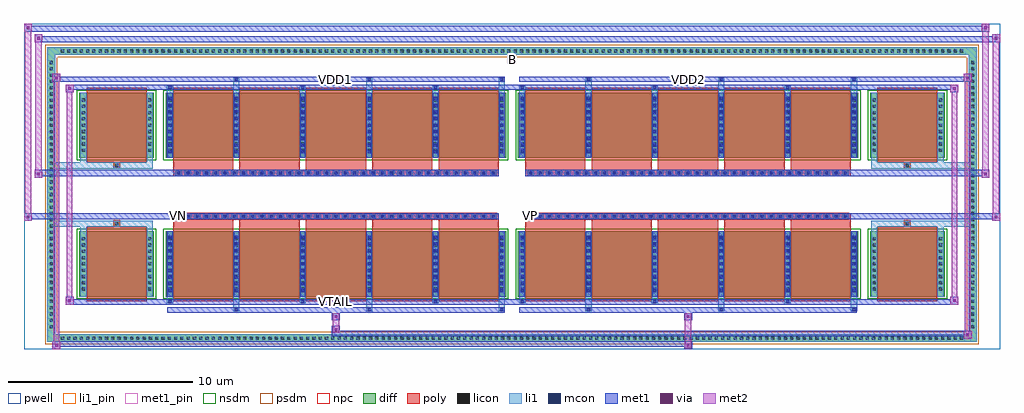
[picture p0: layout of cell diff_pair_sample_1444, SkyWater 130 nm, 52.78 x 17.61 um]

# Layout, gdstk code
import gdstk
lib = gdstk.Library(unit=1e-6, precision=5e-09)
def R(c, l, rs):  # rectangles x0, y0, x1, y1
    for r in rs: c.add(gdstk.rectangle(r[:2], r[2:], *l))
def A(c, l, x, y, w, h, nx, ny, dx, dy):  # array of equal rectangles
    R(c, l, [(x+i*dx, y+j*dy, x+i*dx+w, y+j*dy+h) for i in range(nx) for j in range(ny)])
def P(c, l, *ps):  # polygons
    for p in ps: c.add(gdstk.Polygon(p, *l))
pwell = (64, 44)
diff = (65, 20)
poly = (66, 20)
licon = (66, 44)
li1_pin = (67, 16)
li1 = (67, 20)
mcon = (67, 44)
met1_pin = (68, 16)
met1 = (68, 20)
via = (68, 44)
met2 = (69, 20)
nsdm = (93, 44)
psdm = (94, 20)
npc = (95, 20)

diff_pair_sample_1444 = lib.new_cell('diff_pair_sample_1444')
R(diff_pair_sample_1444, pwell, [(-26.39,-8.37,26.39,9.24), (-23.71,-6.56,-0.01,-0.8), (0.01,-6.56,23.71,-0.8), (-23.71,0.8,-0.01,6.56), (0.01,0.8,23.71,6.56)])
A(diff_pair_sample_1444, diff, -24.515, -7.97, 0.41, 0.41, 144, 2, 0.34, 15.53)
A(diff_pair_sample_1444, diff, -25.12, -7.345, 0.41, 0.41, 1, 43, 0, 0.34)
A(diff_pair_sample_1444, diff, 24.71, -7.345, 0.41, 0.41, 1, 43, 0, 0.34)
R(diff_pair_sample_1444, diff, [(-24.515,-7.97,24.515,-7.56), (-25.12,-7.345,-24.71,7.345), (24.71,-7.345,25.12,7.345), (-23.4,-5.515,-19.36,-1.985), (-18.72,-5.515,-0.32,-1.985), (0.32,-5.515,18.72,-1.985), (19.36,-5.515,23.4,-1.985), (-23.4,1.985,-19.36,5.515), (-18.72,1.985,-0.32,5.515), (0.32,1.985,18.72,5.515), (19.36,1.985,23.4,5.515), (-24.515,7.56,24.515,7.97)])
P(diff_pair_sample_1444, diff, [(25.12,7.97),(-25.12,7.97),(-25.12,-7.56),(-24.71,-7.56),(-24.71,7.56),(24.71,7.56),(24.71,-7.56),(-24.71,-7.56),(-25.12,-7.56),(-25.12,-7.97),(25.12,-7.97)])
A(diff_pair_sample_1444, poly, -18.33, -5.765, 3.26, 4.03, 5, 2, 3.59, 7.5)
A(diff_pair_sample_1444, poly, 0.71, -5.765, 3.26, 4.03, 5, 2, 3.59, 7.5)
A(diff_pair_sample_1444, poly, -18.33, -1.735, 3.26, 0.405, 5, 2, 3.59, 3.065)
A(diff_pair_sample_1444, poly, 0.71, -1.735, 3.26, 0.405, 5, 2, 3.59, 3.065)
A(diff_pair_sample_1444, poly, -18.185, -1.33, 0.33, 0.33, 35, 2, 0.5, 2.33)
A(diff_pair_sample_1444, poly, 0.855, -1.33, 0.33, 0.33, 35, 2, 0.5, 2.33)
R(diff_pair_sample_1444, poly, [(-23.01,-5.765,-19.75,-1.735), (19.75,-5.765,23.01,-1.735), (-21.545,-1.735,-21.215,-1.405), (-21.545,-1.735,-21.215,-1.405), (21.215,-1.735,21.545,-1.405), (21.215,-1.735,21.545,-1.405), (-18.33,-1.33,-0.71,-1), (0.71,-1.33,18.33,-1), (-18.33,1,-0.71,1.33), (0.71,1,18.33,1.33), (-21.545,1.405,-21.215,1.735), (-21.545,1.405,-21.215,1.735), (21.215,1.405,21.545,1.735), (21.215,1.405,21.545,1.735), (-23.01,1.735,-19.75,5.765), (19.75,1.735,23.01,5.765)])
A(diff_pair_sample_1444, licon, -24.395, -7.85, 0.17, 0.17, 144, 2, 0.34, 15.53)
A(diff_pair_sample_1444, licon, -25, -7.225, 0.17, 0.17, 1, 43, 0, 0.34)
A(diff_pair_sample_1444, licon, 24.83, -7.225, 0.17, 0.17, 1, 43, 0, 0.34)
A(diff_pair_sample_1444, licon, -23.26, -5.195, 0.17, 0.17, 1, 9, 0, 0.34)
A(diff_pair_sample_1444, licon, -19.67, -5.195, 0.17, 0.17, 1, 9, 0, 0.34)
A(diff_pair_sample_1444, licon, -18.58, -5.195, 0.17, 0.17, 6, 9, 3.59, 0.34)
A(diff_pair_sample_1444, licon, 0.46, -5.195, 0.17, 0.17, 6, 9, 3.59, 0.34)
A(diff_pair_sample_1444, licon, 19.5, -5.195, 0.17, 0.17, 1, 9, 0, 0.34)
A(diff_pair_sample_1444, licon, 23.09, -5.195, 0.17, 0.17, 1, 9, 0, 0.34)
A(diff_pair_sample_1444, licon, -18.105, -1.25, 0.17, 0.17, 35, 2, 0.5, 2.33)
A(diff_pair_sample_1444, licon, 0.935, -1.25, 0.17, 0.17, 35, 2, 0.5, 2.33)
A(diff_pair_sample_1444, licon, -23.26, 2.305, 0.17, 0.17, 1, 9, 0, 0.34)
A(diff_pair_sample_1444, licon, -19.67, 2.305, 0.17, 0.17, 1, 9, 0, 0.34)
A(diff_pair_sample_1444, licon, -18.58, 2.305, 0.17, 0.17, 6, 9, 3.59, 0.34)
A(diff_pair_sample_1444, licon, 0.46, 2.305, 0.17, 0.17, 6, 9, 3.59, 0.34)
A(diff_pair_sample_1444, licon, 19.5, 2.305, 0.17, 0.17, 1, 9, 0, 0.34)
A(diff_pair_sample_1444, licon, 23.09, 2.305, 0.17, 0.17, 1, 9, 0, 0.34)
R(diff_pair_sample_1444, licon, [(-21.465,-1.655,-21.295,-1.485), (21.295,-1.655,21.465,-1.485), (-21.465,1.485,-21.295,1.655), (21.295,1.485,21.465,1.655)])
R(diff_pair_sample_1444, li1_pin, [(-0.25,7.06,0.25,7.56)])
A(diff_pair_sample_1444, li1, -24.475, -7.93, 0.33, 0.33, 144, 2, 0.34, 15.53)
A(diff_pair_sample_1444, li1, -25.08, -7.305, 0.33, 0.33, 1, 43, 0, 0.34)
A(diff_pair_sample_1444, li1, 24.75, -7.305, 0.33, 0.33, 1, 43, 0, 0.34)
A(diff_pair_sample_1444, li1, -15.07, -6.32, 0.33, 0.805, 3, 2, 7.18, 11.835)
A(diff_pair_sample_1444, li1, -14.99, -6.32, 0.17, 0.17, 3, 2, 7.18, 12.47)
A(diff_pair_sample_1444, li1, 3.97, -6.32, 0.33, 0.805, 3, 2, 7.18, 11.835)
A(diff_pair_sample_1444, li1, 4.05, -6.32, 0.17, 0.17, 3, 2, 7.18, 12.47)
A(diff_pair_sample_1444, li1, -18.66, -5.89, 0.33, 0.375, 3, 2, 7.18, 11.405)
A(diff_pair_sample_1444, li1, -18.58, -5.89, 0.17, 0.17, 3, 2, 7.18, 11.61)
A(diff_pair_sample_1444, li1, 0.38, -5.89, 0.33, 0.375, 3, 2, 7.18, 11.405)
A(diff_pair_sample_1444, li1, 0.46, -5.89, 0.17, 0.17, 3, 2, 7.18, 11.61)
A(diff_pair_sample_1444, li1, -18.66, -5.515, 0.33, 3.53, 6, 2, 3.59, 7.5)
A(diff_pair_sample_1444, li1, 0.38, -5.515, 0.33, 3.53, 6, 2, 3.59, 7.5)
A(diff_pair_sample_1444, li1, -23.34, -5.275, 0.33, 0.33, 1, 9, 0, 0.34)
A(diff_pair_sample_1444, li1, -19.75, -5.275, 0.33, 0.33, 1, 9, 0, 0.34)
A(diff_pair_sample_1444, li1, -18.66, -5.275, 0.33, 0.33, 6, 9, 3.59, 0.34)
A(diff_pair_sample_1444, li1, -18.58, -5.275, 0.17, 0.17, 6, 9, 3.59, 0.36)
A(diff_pair_sample_1444, li1, -18.58, -5.275, 0.17, 3.05, 6, 2, 3.59, 7.5)
A(diff_pair_sample_1444, li1, 0.38, -5.275, 0.33, 0.33, 6, 9, 3.59, 0.34)
A(diff_pair_sample_1444, li1, 0.46, -5.275, 0.17, 0.17, 6, 9, 3.59, 0.36)
A(diff_pair_sample_1444, li1, 0.46, -5.275, 0.17, 3.05, 6, 2, 3.59, 7.5)
A(diff_pair_sample_1444, li1, 19.42, -5.275, 0.33, 0.33, 1, 9, 0, 0.34)
A(diff_pair_sample_1444, li1, 23.01, -5.275, 0.33, 0.33, 1, 9, 0, 0.34)
A(diff_pair_sample_1444, li1, -18.185, -1.33, 0.33, 0.33, 35, 2, 0.5, 2.33)
A(diff_pair_sample_1444, li1, 0.855, -1.33, 0.33, 0.33, 35, 2, 0.5, 2.33)
A(diff_pair_sample_1444, li1, -23.34, 2.225, 0.33, 0.33, 1, 9, 0, 0.34)
A(diff_pair_sample_1444, li1, -19.75, 2.225, 0.33, 0.33, 1, 9, 0, 0.34)
A(diff_pair_sample_1444, li1, -18.66, 2.225, 0.33, 0.33, 6, 9, 3.59, 0.34)
A(diff_pair_sample_1444, li1, -18.58, 2.225, 0.17, 0.17, 6, 9, 3.59, 0.36)
A(diff_pair_sample_1444, li1, 0.38, 2.225, 0.33, 0.33, 6, 9, 3.59, 0.34)
A(diff_pair_sample_1444, li1, 0.46, 2.225, 0.17, 0.17, 6, 9, 3.59, 0.36)
A(diff_pair_sample_1444, li1, 19.42, 2.225, 0.33, 0.33, 1, 9, 0, 0.34)
A(diff_pair_sample_1444, li1, 23.01, 2.225, 0.33, 0.33, 1, 9, 0, 0.34)
R(diff_pair_sample_1444, li1, [(-25.12,-7.97,-24.71,-7.56), (-25.12,-7.97,-24.71,-7.56), (-24.71,-7.97,24.71,-7.56), (24.71,-7.97,25.12,-7.56), (24.71,-7.97,25.12,-7.56), (-25.12,-7.56,-24.71,7.56), (24.71,-7.56,25.12,7.56), (-23.34,-5.515,-23.01,-1.985), (-19.75,-5.515,-19.42,-1.985), (19.42,-5.515,19.75,-1.985), (23.01,-5.515,23.34,-1.985), (-23.34,-1.985,-23.01,-1.405), (-19.75,-1.985,-19.42,-1.405), (19.42,-1.985,19.75,-1.405), (23.01,-1.985,23.34,-1.405), (-25.12,-1.735,-21.545,-1.405), (-23.34,-1.735,-21.545,-1.405), (-21.545,-1.735,-21.215,-1.405), (-21.215,-1.735,-19.42,-1.405), (19.42,-1.735,21.215,-1.405), (21.215,-1.735,21.545,-1.405), (21.215,-1.735,25.12,-1.405), (21.545,-1.735,23.34,-1.405), (-25.12,1.405,-21.545,1.735), (-23.34,1.405,-21.545,1.735), (-23.34,1.405,-23.01,1.985), (-21.545,1.405,-21.215,1.735), (-21.215,1.405,-19.42,1.735), (-19.75,1.405,-19.42,1.985), (19.42,1.405,21.215,1.735), (19.42,1.405,19.75,1.985), (21.215,1.405,21.545,1.735), (21.215,1.405,25.12,1.735), (21.545,1.405,23.34,1.735), (23.01,1.405,23.34,1.985), (-23.34,1.985,-23.01,5.515), (-19.75,1.985,-19.42,5.515), (19.42,1.985,19.75,5.515), (23.01,1.985,23.34,5.515), (-25.12,7.56,-24.71,7.97), (-25.12,7.56,-24.71,7.97), (-24.71,7.56,24.71,7.97), (24.71,7.56,25.12,7.97), (24.71,7.56,25.12,7.97)])
A(diff_pair_sample_1444, mcon, -14.99, -6.32, 0.17, 0.17, 3, 2, 7.18, 12.47)
A(diff_pair_sample_1444, mcon, 4.05, -6.32, 0.17, 0.17, 3, 2, 7.18, 12.47)
A(diff_pair_sample_1444, mcon, -18.58, -5.89, 0.17, 0.17, 3, 2, 7.18, 11.61)
A(diff_pair_sample_1444, mcon, 0.46, -5.89, 0.17, 0.17, 3, 2, 7.18, 11.61)
A(diff_pair_sample_1444, mcon, -18.58, -5.275, 0.17, 0.17, 6, 9, 3.59, 0.36)
A(diff_pair_sample_1444, mcon, 0.46, -5.275, 0.17, 0.17, 6, 9, 3.59, 0.36)
A(diff_pair_sample_1444, mcon, -18.105, -1.25, 0.17, 0.17, 35, 2, 0.5, 2.33)
A(diff_pair_sample_1444, mcon, 0.935, -1.25, 0.17, 0.17, 35, 2, 0.5, 2.33)
A(diff_pair_sample_1444, mcon, -18.58, 2.225, 0.17, 0.17, 6, 9, 3.59, 0.36)
A(diff_pair_sample_1444, mcon, 0.46, 2.225, 0.17, 0.17, 6, 9, 3.59, 0.36)
R(diff_pair_sample_1444, met1_pin, [(-9.655,-5.93,-9.385,-5.66), (-18.155,-1.29,-17.885,-1.02), (0.885,-1.29,1.155,-1.02), (-9.655,6.11,-9.385,6.38), (9.385,6.11,9.655,6.38)])
A(diff_pair_sample_1444, met1, -15.05, -6.38, 0.29, 0.29, 3, 2, 7.18, 12.47)
A(diff_pair_sample_1444, met1, 3.99, -6.38, 0.29, 0.29, 3, 2, 7.18, 12.47)
A(diff_pair_sample_1444, met1, -18.64, -5.95, 0.29, 0.29, 3, 2, 7.18, 11.61)
A(diff_pair_sample_1444, met1, 0.4, -5.95, 0.29, 0.29, 3, 2, 7.18, 11.61)
A(diff_pair_sample_1444, met1, -18.64, -5.515, 0.29, 3.53, 6, 2, 3.59, 7.5)
A(diff_pair_sample_1444, met1, 0.4, -5.515, 0.29, 3.53, 6, 2, 3.59, 7.5)
A(diff_pair_sample_1444, met1, -18.64, -5.335, 0.29, 0.29, 6, 9, 3.59, 0.36)
A(diff_pair_sample_1444, met1, 0.4, -5.335, 0.29, 0.29, 6, 9, 3.59, 0.36)
A(diff_pair_sample_1444, met1, -18.165, -1.31, 0.29, 0.29, 35, 2, 0.5, 2.33)
A(diff_pair_sample_1444, met1, 0.875, -1.31, 0.29, 0.29, 35, 2, 0.5, 2.33)
A(diff_pair_sample_1444, met1, -18.64, 2.165, 0.29, 0.29, 6, 9, 3.59, 0.36)
A(diff_pair_sample_1444, met1, 0.4, 2.165, 0.29, 0.29, 6, 9, 3.59, 0.36)
R(diff_pair_sample_1444, met1, [(-24.85,-8.37,-24.42,-7.94), (9.305,-8.37,9.735,-7.94), (-24.85,-8.23,9.735,-7.94), (24.42,-7.8,24.85,-7.37), (-9.735,-7.66,24.85,-7.37), (-9.735,-7.52,-9.305,-7.09), (-9.735,-6.81,-9.305,-6.38), (9.305,-6.81,9.735,-6.38), (-18.64,-6.38,-0.4,-6.09), (0.4,-6.38,18.64,-6.09), (-24.14,-5.95,-23.71,-5.52), (-24.14,-5.95,-18.64,-5.66), (-18.64,-5.95,-0.4,-5.66), (-0.4,-5.95,0.4,-5.66), (0.4,-5.95,18.64,-5.66), (18.64,-5.95,24.14,-5.66), (23.71,-5.95,24.14,-5.52), (-26.39,-1.43,-25.96,-1), (25.96,-1.43,26.39,-1), (-26.39,-1.33,-0.71,-1), (-18.33,-1.33,-0.71,-1), (0.71,-1.33,18.33,-1), (0.71,-1.33,26.39,-1), (-25.82,0.9,-25.39,1.33), (25.39,0.9,25.82,1.33), (-25.82,1,-18.33,1.33), (-18.33,1,-0.71,1.33), (0.71,1,18.33,1.33), (18.33,1,25.82,1.33), (-24.14,5.52,-23.71,5.95), (23.71,5.52,24.14,5.95), (-24.14,5.66,-18.64,5.95), (-18.64,5.66,-0.4,5.95), (-0.4,5.66,0.4,5.95), (0.4,5.66,18.64,5.95), (18.64,5.66,24.14,5.95), (-24.85,6.09,-24.42,6.52), (-24.85,6.09,-18.64,6.38), (-18.64,6.09,-0.4,6.38), (0.4,6.09,18.64,6.38), (18.64,6.09,24.85,6.38), (24.42,6.09,24.85,6.52), (-25.82,8.24,-25.39,8.67), (-25.82,8.24,-23.71,8.57), (-23.71,8.24,23.71,8.57), (23.71,8.24,26.39,8.57), (25.96,8.24,26.39,8.67), (-26.39,8.81,-25.96,9.24), (-26.39,8.81,-23.71,9.14), (-23.71,8.81,23.71,9.14), (23.71,8.81,25.82,9.14), (25.39,8.81,25.82,9.24)])
R(diff_pair_sample_1444, via, [(-24.71,-8.23,-24.56,-8.08), (9.445,-8.23,9.595,-8.08), (24.56,-7.66,24.71,-7.51), (-9.595,-7.38,-9.445,-7.23), (-9.595,-6.67,-9.445,-6.52), (9.445,-6.67,9.595,-6.52), (-24,-5.81,-23.85,-5.66), (23.85,-5.81,24,-5.66), (-26.25,-1.29,-26.1,-1.14), (26.1,-1.29,26.25,-1.14), (-25.68,1.04,-25.53,1.19), (25.53,1.04,25.68,1.19), (-24,5.66,-23.85,5.81), (23.85,5.66,24,5.81), (-24.71,6.23,-24.56,6.38), (24.56,6.23,24.71,6.38), (-25.68,8.38,-25.53,8.53), (26.1,8.38,26.25,8.53), (-26.25,8.95,-26.1,9.1), (25.53,8.95,25.68,9.1)])
R(diff_pair_sample_1444, met2, [(-24.85,-8.37,-24.42,-7.94), (-24.78,-8.37,-24.49,6.52), (-24.49,-8.37,-24.42,-7.94), (-24.8,-8.32,-24.47,-7.99), (9.355,-8.32,9.685,-7.99), (9.355,-7.99,9.685,-6.76), (24.42,-7.8,24.85,-7.37), (24.49,-7.8,24.78,6.52), (24.78,-7.8,24.85,-7.37), (24.47,-7.75,24.8,-7.42), (-9.685,-7.47,-9.355,-7.14), (-9.685,-7.14,-9.355,-6.76), (-9.685,-6.76,-9.355,-6.43), (9.355,-6.76,9.685,-6.43), (-24.14,-5.95,-23.71,-5.52), (-24.07,-5.95,-23.78,5.95), (-23.78,-5.95,-23.71,-5.52), (23.71,-5.95,24.14,-5.52), (23.78,-5.95,24.07,5.95), (24.07,-5.95,24.14,-5.52), (-24.09,-5.9,-23.76,-5.57), (23.76,-5.9,24.09,-5.57), (-26.39,-1.43,-25.96,-1), (-26.34,-1.43,-26.01,9.24), (-26.01,-1.43,-25.96,-1), (25.96,-1.43,26.39,-1), (26.01,-1.43,26.34,8.67), (26.34,-1.43,26.39,-1), (-26.34,-1.38,-26.01,-1.05), (26.01,-1.38,26.34,-1.05), (-25.82,0.9,-25.39,1.33), (-25.77,0.9,-25.44,8.67), (-25.44,0.9,-25.39,1.33), (25.39,0.9,25.82,1.33), (25.44,0.9,25.77,9.24), (25.77,0.9,25.82,1.33), (-25.77,0.95,-25.44,1.28), (25.44,0.95,25.77,1.28), (-24.14,5.52,-23.71,5.95), (-23.78,5.52,-23.71,5.95), (23.71,5.52,24.14,5.95), (24.07,5.52,24.14,5.95), (-24.09,5.57,-23.76,5.9), (23.76,5.57,24.09,5.9), (-24.85,6.09,-24.42,6.52), (-24.49,6.09,-24.42,6.52), (24.42,6.09,24.85,6.52), (24.78,6.09,24.85,6.52), (-24.8,6.14,-24.47,6.47), (24.47,6.14,24.8,6.47), (-25.82,8.24,-25.39,8.67), (-25.44,8.24,-25.39,8.67), (25.96,8.24,26.39,8.67), (26.34,8.24,26.39,8.67), (-25.77,8.29,-25.44,8.62), (26.01,8.29,26.34,8.62), (-26.39,8.81,-25.96,9.24), (-26.01,8.81,-25.96,9.24), (25.39,8.81,25.82,9.24), (25.77,8.81,25.82,9.24), (-26.34,8.86,-26.01,9.19), (25.44,8.86,25.77,9.19)])
R(diff_pair_sample_1444, nsdm, [(-23.53,-5.645,-19.23,-1.855), (-18.85,-5.645,-0.19,-1.855), (0.19,-5.645,18.85,-1.855), (19.23,-5.645,23.53,-1.855), (-23.53,1.855,-19.23,5.645), (-18.85,1.855,-0.19,5.645), (0.19,1.855,18.85,5.645), (19.23,1.855,23.53,5.645)])
P(diff_pair_sample_1444, psdm, [(25.25,8.1),(-25.25,8.1),(-25.25,-7.43),(-24.58,-7.43),(-24.58,7.43),(24.58,7.43),(24.58,-7.43),(-24.58,-7.43),(-25.25,-7.43),(-25.25,-8.1),(25.25,-8.1)])
A(diff_pair_sample_1444, npc, -18.205, -1.35, 0.37, 0.37, 35, 2, 0.5, 2.33)
A(diff_pair_sample_1444, npc, 0.835, -1.35, 0.37, 0.37, 35, 2, 0.5, 2.33)
R(diff_pair_sample_1444, npc, [(-21.565,-1.755,-21.195,-1.385), (21.195,-1.755,21.565,-1.385), (-18.205,-1.35,-17.335,-0.98), (-18.205,-1.35,-17.335,-0.98), (-17.705,-1.35,-16.835,-0.98), (-17.705,-1.35,-16.835,-0.98), (-17.205,-1.35,-16.335,-0.98), (-17.205,-1.35,-16.335,-0.98), (-16.705,-1.35,-15.835,-0.98), (-16.705,-1.35,-15.835,-0.98), (-16.205,-1.35,-15.335,-0.98), (-16.205,-1.35,-15.335,-0.98), (-15.705,-1.35,-14.835,-0.98), (-15.705,-1.35,-14.835,-0.98), (-15.205,-1.35,-14.335,-0.98), (-15.205,-1.35,-14.335,-0.98), (-14.705,-1.35,-13.835,-0.98), (-14.705,-1.35,-13.835,-0.98), (-14.205,-1.35,-13.335,-0.98), (-14.205,-1.35,-13.335,-0.98), (-13.705,-1.35,-12.835,-0.98), (-13.705,-1.35,-12.835,-0.98), (-13.205,-1.35,-12.335,-0.98), (-13.205,-1.35,-12.335,-0.98), (-12.705,-1.35,-11.835,-0.98), (-12.705,-1.35,-11.835,-0.98), (-12.205,-1.35,-11.335,-0.98), (-12.205,-1.35,-11.335,-0.98), (-11.705,-1.35,-10.835,-0.98), (-11.705,-1.35,-10.835,-0.98), (-11.205,-1.35,-10.335,-0.98), (-11.205,-1.35,-10.335,-0.98), (-10.705,-1.35,-9.835,-0.98), (-10.705,-1.35,-9.835,-0.98), (-10.205,-1.35,-9.335,-0.98), (-10.205,-1.35,-9.335,-0.98), (-9.705,-1.35,-8.835,-0.98), (-9.705,-1.35,-8.835,-0.98), (-9.205,-1.35,-8.335,-0.98), (-9.205,-1.35,-8.335,-0.98), (-8.705,-1.35,-7.835,-0.98), (-8.705,-1.35,-7.835,-0.98), (-8.205,-1.35,-7.335,-0.98), (-8.205,-1.35,-7.335,-0.98), (-7.705,-1.35,-6.835,-0.98), (-7.705,-1.35,-6.835,-0.98), (-7.205,-1.35,-6.335,-0.98), (-7.205,-1.35,-6.335,-0.98), (-6.705,-1.35,-5.835,-0.98), (-6.705,-1.35,-5.835,-0.98), (-6.205,-1.35,-5.335,-0.98), (-6.205,-1.35,-5.335,-0.98), (-5.705,-1.35,-4.835,-0.98), (-5.705,-1.35,-4.835,-0.98), (-5.205,-1.35,-4.335,-0.98), (-5.205,-1.35,-4.335,-0.98), (-4.705,-1.35,-3.835,-0.98), (-4.705,-1.35,-3.835,-0.98), (-4.205,-1.35,-3.335,-0.98), (-4.205,-1.35,-3.335,-0.98), (-3.705,-1.35,-2.835,-0.98), (-3.705,-1.35,-2.835,-0.98), (-3.205,-1.35,-2.335,-0.98), (-3.205,-1.35,-2.335,-0.98), (-2.705,-1.35,-1.835,-0.98), (-2.705,-1.35,-1.835,-0.98), (-2.205,-1.35,-1.335,-0.98), (-2.205,-1.35,-1.335,-0.98), (-1.705,-1.35,-0.835,-0.98), (-1.705,-1.35,-0.835,-0.98), (0.835,-1.35,1.705,-0.98), (0.835,-1.35,1.705,-0.98), (1.335,-1.35,2.205,-0.98), (1.335,-1.35,2.205,-0.98), (1.835,-1.35,2.705,-0.98), (1.835,-1.35,2.705,-0.98), (2.335,-1.35,3.205,-0.98), (2.335,-1.35,3.205,-0.98), (2.835,-1.35,3.705,-0.98), (2.835,-1.35,3.705,-0.98), (3.335,-1.35,4.205,-0.98), (3.335,-1.35,4.205,-0.98), (3.835,-1.35,4.705,-0.98), (3.835,-1.35,4.705,-0.98), (4.335,-1.35,5.205,-0.98), (4.335,-1.35,5.205,-0.98), (4.835,-1.35,5.705,-0.98), (4.835,-1.35,5.705,-0.98), (5.335,-1.35,6.205,-0.98), (5.335,-1.35,6.205,-0.98), (5.835,-1.35,6.705,-0.98), (5.835,-1.35,6.705,-0.98), (6.335,-1.35,7.205,-0.98), (6.335,-1.35,7.205,-0.98), (6.835,-1.35,7.705,-0.98), (6.835,-1.35,7.705,-0.98), (7.335,-1.35,8.205,-0.98), (7.335,-1.35,8.205,-0.98), (7.835,-1.35,8.705,-0.98), (7.835,-1.35,8.705,-0.98), (8.335,-1.35,9.205,-0.98), (8.335,-1.35,9.205,-0.98), (8.835,-1.35,9.705,-0.98), (8.835,-1.35,9.705,-0.98), (9.335,-1.35,10.205,-0.98), (9.335,-1.35,10.205,-0.98), (9.835,-1.35,10.705,-0.98), (9.835,-1.35,10.705,-0.98), (10.335,-1.35,11.205,-0.98), (10.335,-1.35,11.205,-0.98), (10.835,-1.35,11.705,-0.98), (10.835,-1.35,11.705,-0.98), (11.335,-1.35,12.205,-0.98), (11.335,-1.35,12.205,-0.98), (11.835,-1.35,12.705,-0.98), (11.835,-1.35,12.705,-0.98), (12.335,-1.35,13.205,-0.98), (12.335,-1.35,13.205,-0.98), (12.835,-1.35,13.705,-0.98), (12.835,-1.35,13.705,-0.98), (13.335,-1.35,14.205,-0.98), (13.335,-1.35,14.205,-0.98), (13.835,-1.35,14.705,-0.98), (13.835,-1.35,14.705,-0.98), (14.335,-1.35,15.205,-0.98), (14.335,-1.35,15.205,-0.98), (14.835,-1.35,15.705,-0.98), (14.835,-1.35,15.705,-0.98), (15.335,-1.35,16.205,-0.98), (15.335,-1.35,16.205,-0.98), (15.835,-1.35,16.705,-0.98), (15.835,-1.35,16.705,-0.98), (16.335,-1.35,17.205,-0.98), (16.335,-1.35,17.205,-0.98), (16.835,-1.35,17.705,-0.98), (16.835,-1.35,17.705,-0.98), (17.335,-1.35,18.205,-0.98), (17.335,-1.35,18.205,-0.98), (-18.205,0.98,-17.335,1.35), (-18.205,0.98,-17.335,1.35), (-17.705,0.98,-16.835,1.35), (-17.705,0.98,-16.835,1.35), (-17.205,0.98,-16.335,1.35), (-17.205,0.98,-16.335,1.35), (-16.705,0.98,-15.835,1.35), (-16.705,0.98,-15.835,1.35), (-16.205,0.98,-15.335,1.35), (-16.205,0.98,-15.335,1.35), (-15.705,0.98,-14.835,1.35), (-15.705,0.98,-14.835,1.35), (-15.205,0.98,-14.335,1.35), (-15.205,0.98,-14.335,1.35), (-14.705,0.98,-13.835,1.35), (-14.705,0.98,-13.835,1.35), (-14.205,0.98,-13.335,1.35), (-14.205,0.98,-13.335,1.35), (-13.705,0.98,-12.835,1.35), (-13.705,0.98,-12.835,1.35), (-13.205,0.98,-12.335,1.35), (-13.205,0.98,-12.335,1.35), (-12.705,0.98,-11.835,1.35), (-12.705,0.98,-11.835,1.35), (-12.205,0.98,-11.335,1.35), (-12.205,0.98,-11.335,1.35), (-11.705,0.98,-10.835,1.35), (-11.705,0.98,-10.835,1.35), (-11.205,0.98,-10.335,1.35), (-11.205,0.98,-10.335,1.35), (-10.705,0.98,-9.835,1.35), (-10.705,0.98,-9.835,1.35), (-10.205,0.98,-9.335,1.35), (-10.205,0.98,-9.335,1.35), (-9.705,0.98,-8.835,1.35), (-9.705,0.98,-8.835,1.35), (-9.205,0.98,-8.335,1.35), (-9.205,0.98,-8.335,1.35), (-8.705,0.98,-7.835,1.35), (-8.705,0.98,-7.835,1.35), (-8.205,0.98,-7.335,1.35), (-8.205,0.98,-7.335,1.35), (-7.705,0.98,-6.835,1.35), (-7.705,0.98,-6.835,1.35), (-7.205,0.98,-6.335,1.35), (-7.205,0.98,-6.335,1.35), (-6.705,0.98,-5.835,1.35), (-6.705,0.98,-5.835,1.35), (-6.205,0.98,-5.335,1.35), (-6.205,0.98,-5.335,1.35), (-5.705,0.98,-4.835,1.35), (-5.705,0.98,-4.835,1.35), (-5.205,0.98,-4.335,1.35), (-5.205,0.98,-4.335,1.35), (-4.705,0.98,-3.835,1.35), (-4.705,0.98,-3.835,1.35), (-4.205,0.98,-3.335,1.35), (-4.205,0.98,-3.335,1.35), (-3.705,0.98,-2.835,1.35), (-3.705,0.98,-2.835,1.35), (-3.205,0.98,-2.335,1.35), (-3.205,0.98,-2.335,1.35), (-2.705,0.98,-1.835,1.35), (-2.705,0.98,-1.835,1.35), (-2.205,0.98,-1.335,1.35), (-2.205,0.98,-1.335,1.35), (-1.705,0.98,-0.835,1.35), (-1.705,0.98,-0.835,1.35), (0.835,0.98,1.705,1.35), (0.835,0.98,1.705,1.35), (1.335,0.98,2.205,1.35), (1.335,0.98,2.205,1.35), (1.835,0.98,2.705,1.35), (1.835,0.98,2.705,1.35), (2.335,0.98,3.205,1.35), (2.335,0.98,3.205,1.35), (2.835,0.98,3.705,1.35), (2.835,0.98,3.705,1.35), (3.335,0.98,4.205,1.35), (3.335,0.98,4.205,1.35), (3.835,0.98,4.705,1.35), (3.835,0.98,4.705,1.35), (4.335,0.98,5.205,1.35), (4.335,0.98,5.205,1.35), (4.835,0.98,5.705,1.35), (4.835,0.98,5.705,1.35), (5.335,0.98,6.205,1.35), (5.335,0.98,6.205,1.35), (5.835,0.98,6.705,1.35), (5.835,0.98,6.705,1.35), (6.335,0.98,7.205,1.35), (6.335,0.98,7.205,1.35), (6.835,0.98,7.705,1.35), (6.835,0.98,7.705,1.35), (7.335,0.98,8.205,1.35), (7.335,0.98,8.205,1.35), (7.835,0.98,8.705,1.35), (7.835,0.98,8.705,1.35), (8.335,0.98,9.205,1.35), (8.335,0.98,9.205,1.35), (8.835,0.98,9.705,1.35), (8.835,0.98,9.705,1.35), (9.335,0.98,10.205,1.35), (9.335,0.98,10.205,1.35), (9.835,0.98,10.705,1.35), (9.835,0.98,10.705,1.35), (10.335,0.98,11.205,1.35), (10.335,0.98,11.205,1.35), (10.835,0.98,11.705,1.35), (10.835,0.98,11.705,1.35), (11.335,0.98,12.205,1.35), (11.335,0.98,12.205,1.35), (11.835,0.98,12.705,1.35), (11.835,0.98,12.705,1.35), (12.335,0.98,13.205,1.35), (12.335,0.98,13.205,1.35), (12.835,0.98,13.705,1.35), (12.835,0.98,13.705,1.35), (13.335,0.98,14.205,1.35), (13.335,0.98,14.205,1.35), (13.835,0.98,14.705,1.35), (13.835,0.98,14.705,1.35), (14.335,0.98,15.205,1.35), (14.335,0.98,15.205,1.35), (14.835,0.98,15.705,1.35), (14.835,0.98,15.705,1.35), (15.335,0.98,16.205,1.35), (15.335,0.98,16.205,1.35), (15.835,0.98,16.705,1.35), (15.835,0.98,16.705,1.35), (16.335,0.98,17.205,1.35), (16.335,0.98,17.205,1.35), (16.835,0.98,17.705,1.35), (16.835,0.98,17.705,1.35), (17.335,0.98,18.205,1.35), (17.335,0.98,18.205,1.35), (-21.565,1.385,-21.195,1.755), (21.195,1.385,21.565,1.755)])
diff_pair_sample_1444.add(gdstk.Label('VTAIL', (-9.52,-5.795), layer=68, texttype=5))
diff_pair_sample_1444.add(gdstk.Label('VN', (-18.02,-1.155), layer=68, texttype=5))
diff_pair_sample_1444.add(gdstk.Label('VP', (1.02,-1.155), layer=68, texttype=5))
diff_pair_sample_1444.add(gdstk.Label('B', (0,7.31), layer=67, texttype=5))
diff_pair_sample_1444.add(gdstk.Label('VDD2', (9.52,6.245), layer=68, texttype=5))
diff_pair_sample_1444.add(gdstk.Label('VDD1', (-9.52,6.245), layer=68, texttype=5))

lib.write_gds('diff_pair_sample_1444.gds')
